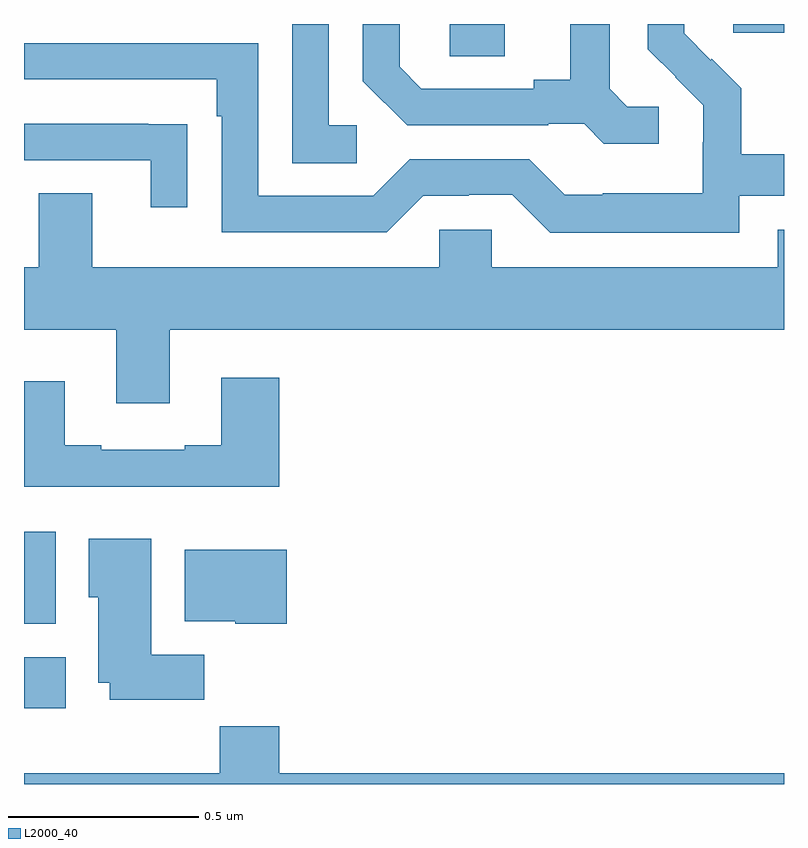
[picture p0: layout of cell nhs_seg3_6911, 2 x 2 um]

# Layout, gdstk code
import gdstk
lib = gdstk.Library(unit=1e-6, precision=1e-09)
def R(c, l, rs):  # rectangles x0, y0, x1, y1
    for r in rs: c.add(gdstk.rectangle(r[:2], r[2:], *l))
def P(c, l, *ps):  # polygons
    for p in ps: c.add(gdstk.Polygon(p, *l))
L2000_40 = (2000, 40)

nhs_seg3_6911 = lib.new_cell('nhs_seg3_6911')
R(nhs_seg3_6911, L2000_40, [(197,686.6,197.11,686.734), (197,686.822,197.083,687.064), (198.12,688.315,198.265,688.4), (198.866,688.377,199,688.4)])
P(nhs_seg3_6911, L2000_40, [(197.875,688.134),(197.802,688.134),(197.802,688.4),(197.706,688.4),(197.706,688.033),(197.875,688.033)],
  [(198.67,688.182),(198.588,688.182),(198.541,688.229),(198.541,688.4),(198.437,688.4),(198.437,688.253),(198.341,688.253),(198.341,688.23),(198.046,688.23),(197.989,688.287),(197.989,688.4),(197.892,688.4),(197.892,688.25),(198.008,688.134),(198.38,688.134),(198.38,688.137),(198.474,688.137),(198.526,688.085),(198.67,688.085)],
  [(198.882,687.948),(199,687.948),(199,688.057),(198.887,688.057),(198.887,688.231),(198.81,688.308),(198.807,688.305),(198.737,688.376),(198.737,688.4),(198.642,688.4),(198.642,688.334),(198.715,688.261),(198.714,688.26),(198.788,688.186),(198.788,688.089),(198.786,688.089),(198.786,687.955),(198.523,687.955),(198.523,687.951),(198.423,687.951),(198.33,688.044),(198.015,688.044),(197.919,687.948),(197.616,687.948),(197.616,688.35),(197,688.35),(197,688.254),(197.507,688.254),(197.507,688.157),(197.52,688.157),(197.52,687.852),(197.955,687.852),(198.051,687.948),(198.17,687.948),(198.17,687.951),(198.285,687.951),(198.385,687.851),(198.882,687.851)],
  [(197.429,688.136),(197.327,688.136),(197.327,688.137),(197,688.137),(197,688.041),(197.333,688.041),(197.333,687.918),(197.429,687.918)],
  [(197.383,687.596),(199,687.596),(199,687.859),(198.983,687.859),(198.983,687.76),(198.231,687.76),(198.231,687.858),(198.093,687.858),(198.093,687.76),(197.179,687.76),(197.179,687.955),(197.039,687.955),(197.039,687.76),(197,687.76),(197,687.596),(197.243,687.596),(197.243,687.402),(197.383,687.402)],
  [(197.672,687.469),(197.519,687.469),(197.519,687.292),(197.423,687.292),(197.423,687.279),(197.203,687.279),(197.203,687.292),(197.107,687.292),(197.107,687.46),(197,687.46),(197,687.182),(197.672,687.182)],
  [(197.474,686.74),(197.335,686.74),(197.335,687.046),(197.171,687.046),(197.171,686.892),(197.195,686.892),(197.195,686.666),(197.225,686.666),(197.225,686.622),(197.474,686.622)],
  [(197.692,687.016),(197.423,687.016),(197.423,686.828),(197.556,686.828),(197.556,686.822),(197.692,686.822)],
  [(199,686.428),(197.672,686.428),(197.672,686.552),(197.515,686.552),(197.515,686.428),(197,686.428),(197,686.4),(199,686.4)])

lib.write_gds('nhs_seg3_6911.gds')
